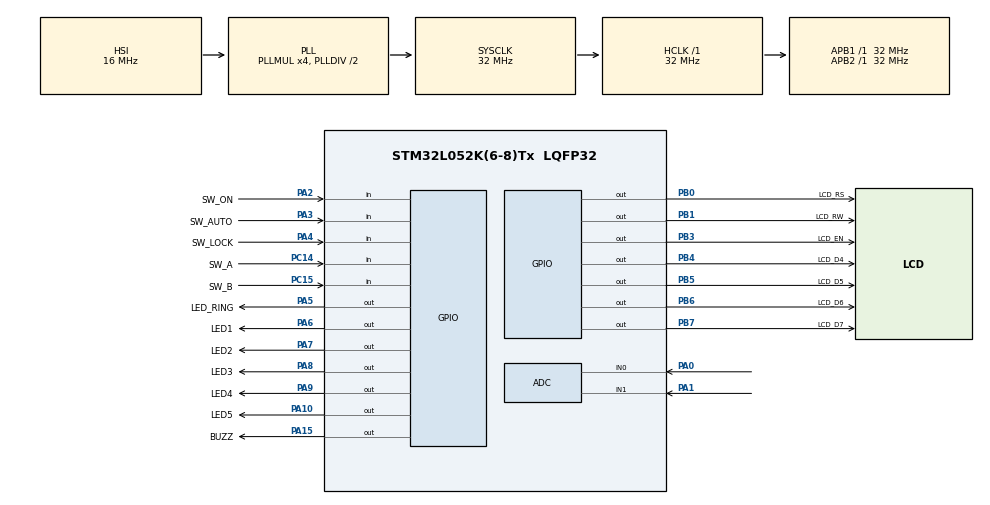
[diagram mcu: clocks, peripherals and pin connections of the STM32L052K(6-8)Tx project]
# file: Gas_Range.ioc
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ADC.SamplingTime=ADC_SAMPLETIME_160CYCLES_5
Mcu.Family=STM32L0
Mcu.Name=STM32L052K(6-8)Tx
Mcu.Package=LQFP32
PA0.Mode=IN0
PA0.Signal=ADC_IN0
PA1.Mode=IN1
PA1.Signal=ADC_IN1
PA10.GPIO_Label=LED5
PA10.GPIO_Speed=GPIO_SPEED_FREQ_VERY_HIGH
PA10.PinState=GPIO_PIN_SET
PA10.Signal=GPIO_Output
PA13.Mode=Serial_Wire
PA13.Signal=SYS_SWDIO
PA14.Mode=Serial_Wire
PA14.Signal=SYS_SWCLK
PA15.GPIO_Label=BUZZ
PA15.GPIO_Speed=GPIO_SPEED_FREQ_VERY_HIGH
PA15.Signal=GPIO_Output
PA2.GPIO_Label=SW_ON
PA2.GPIO_PuPd=GPIO_PULLUP
PA2.Signal=GPIO_Input
PA3.GPIO_Label=SW_AUTO
PA3.GPIO_PuPd=GPIO_PULLUP
PA3.Signal=GPIO_Input
PA4.GPIO_Label=SW_LOCK
PA4.GPIO_PuPd=GPIO_PULLUP
PA4.Signal=GPIO_Input
PA5.GPIO_Label=LED_RING
PA5.GPIO_ModeDefaultOutputPP=GPIO_MODE_OUTPUT_OD
PA5.GPIO_Speed=GPIO_SPEED_FREQ_VERY_HIGH
PA5.Signal=GPIO_Output
PA6.GPIO_Label=LED1
PA6.GPIO_Speed=GPIO_SPEED_FREQ_VERY_HIGH
PA6.PinState=GPIO_PIN_SET
PA6.Signal=GPIO_Output
PA7.GPIO_Label=LED2
PA7.GPIO_Speed=GPIO_SPEED_FREQ_VERY_HIGH
PA7.PinState=GPIO_PIN_SET
PA7.Signal=GPIO_Output
PA8.GPIO_Label=LED3
PA8.GPIO_Speed=GPIO_SPEED_FREQ_VERY_HIGH
PA8.PinState=GPIO_PIN_SET
PA8.Signal=GPIO_Output
PA9.GPIO_Label=LED4
PA9.GPIO_Speed=GPIO_SPEED_FREQ_VERY_HIGH
PA9.PinState=GPIO_PIN_SET
PA9.Signal=GPIO_Output
PB0.GPIO_Label=LCD_RS
PB0.GPIO_Speed=GPIO_SPEED_FREQ_VERY_HIGH
PB0.Signal=GPIO_Output
PB1.GPIO_Label=LCD_RW
PB1.GPIO_Speed=GPIO_SPEED_FREQ_VERY_HIGH
PB1.Signal=GPIO_Output
PB3.GPIO_Label=LCD_EN
PB3.GPIO_Speed=GPIO_SPEED_FREQ_VERY_HIGH
PB3.Signal=GPIO_Output
PB4.GPIO_Label=LCD_D4
PB4.GPIO_Speed=GPIO_SPEED_FREQ_VERY_HIGH
PB4.Signal=GPIO_Output
PB5.GPIO_Label=LCD_D5
PB5.GPIO_Speed=GPIO_SPEED_FREQ_VERY_HIGH
PB5.Signal=GPIO_Output
PB6.GPIO_Label=LCD_D6
PB6.GPIO_Speed=GPIO_SPEED_FREQ_VERY_HIGH
PB6.Signal=GPIO_Output
PB7.GPIO_Label=LCD_D7
PB7.GPIO_Speed=GPIO_SPEED_FREQ_VERY_HIGH
PB7.Signal=GPIO_Output
PC14-OSC32_IN.GPIO_Label=SW_A
PC14-OSC32_IN.GPIO_PuPd=GPIO_PULLUP
PC14-OSC32_IN.Signal=GPIO_Input
PC15-OSC32_OUT.GPIO_Label=SW_B
PC15-OSC32_OUT.GPIO_PuPd=GPIO_PULLUP
PC15-OSC32_OUT.Signal=GPIO_Input
ProjectManager.HeapSize=0x200
ProjectManager.StackSize=0x400
ProjectManager.TargetToolchain=STM32CubeIDE
RCC.AHBFreq_Value=32000000
RCC.APB1Freq_Value=32000000
RCC.APB1TimFreq_Value=32000000
RCC.APB2Freq_Value=32000000
RCC.APB2TimFreq_Value=32000000
RCC.HCLKFreq_Value=32000000
RCC.HSI16_VALUE=16000000
RCC.HSI48_VALUE=48000000
RCC.HSI_VALUE=16000000
RCC.LSE_VALUE=32768
RCC.MSI_VALUE=2097000
RCC.PLLMUL=RCC_PLLMUL_4
RCC.SYSCLKFreq_VALUE=32000000
RCC.SYSCLKSource=RCC_SYSCLKSOURCE_PLLCLK
RCC.VCOOutputFreq_Value=64000000
board=custom

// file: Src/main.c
/* USER CODE BEGIN Header */
/**
 ******************************************************************************
 * @file           : main.c
 * @brief          : Main program body
 ******************************************************************************
 * @attention
 *
 * <h2><center>&copy; Copyright (c) 2020 STMicroelectronics.
 * All rights reserved.</center></h2>
 *
 * This software component is licensed by ST under BSD 3-Clause license,
 * the "License"; You may not use this file except in compliance with the
 * License. You may obtain a copy of the License at:
 *                        opensource.org/licenses/BSD-3-Clause
 *
 ******************************************************************************
 */
/* USER CODE END Header */

#include "main.h"

/* USER CODE BEGIN Includes */
#include <stdio.h>
#include "lcd1602.h"
#include "control_hardware.h"
/* USER CODE END Includes */

/* USER CODE BEGIN PD */
#define SW1 (HAL_GPIO_ReadPin(SW_ON_GPIO_Port, SW_ON_Pin))
#define SW2 (HAL_GPIO_ReadPin(SW_LOCK_GPIO_Port, SW_LOCK_Pin))
#define SW3 (HAL_GPIO_ReadPin(SW_AUTO_GPIO_Port, SW_AUTO_Pin))
#define SW4 (HAL_GPIO_ReadPin(SW_A_GPIO_Port, SW_A_Pin))
#define SW5 (HAL_GPIO_ReadPin(SW_B_GPIO_Port, SW_B_Pin))

#define TEMPUP(X) (X == 1 ? 900 : X == 2 ? 800 : X == 3 ? 700 : X == 4 ? 600 : X == 5 ? 500 : X == 6 ? 400 : X == 7 ? 300 : X == 8 ? 200 : X == 9 ? 100 : 0)
#define TEMPDOWN(X) (X < 10 ? 2900 : X >= 300 ? 100 : X >= 200 ? 200 : X >= 100 ? 400 : X >= 40 ? 700 : X >= 20 ? 1100 : X >= 15 ? 1600 : X >= 10 ? 2200 : 0)

#define BUZZER(X) (HAL_GPIO_WritePin(BUZZ_GPIO_Port, BUZZ_Pin, X))
#define LED(N, X) (HAL_GPIO_WritePin(LED##N##_GPIO_Port, LED##N##_Pin, !X))

#define NOW HAL_GetTick()

/* USER CODE END PD */

/* USER CODE BEGIN PM */
typedef char* String;
/* USER CODE END PM */

ADC_HandleTypeDef hadc;

/* USER CODE BEGIN PV */
int temp = 20;
int power = 0;
int powerSet = 0;
int uNum = 0;
int altemp = 20;
int gasflag = 0;
int safeflag = 0;
int highflag = 0;
int autoFlag = 0;
int asetTemp;
char bf[17];
String uistat[6] = { "OFF      ", "ON       ", "ON(NONE) ", "OVER HEAT",
		"AUTO ADJ ", "SAFE LOCK" };
uint32_t led_ring_data[10][12] = { 0 };

/* USER CODE END PV */

void SystemClock_Config(void);
static void MX_GPIO_Init(void);
static void MX_ADC_Init(void);

/* USER CODE BEGIN 0 */
void adc(uint16_t *vr, uint16_t *cds) {
	HAL_ADC_Start(&hadc);
	HAL_ADC_PollForConversion(&hadc, 1000);
	*cds = HAL_ADC_GetValue(&hadc);
	HAL_ADC_PollForConversion(&hadc, 1000);
	*vr = HAL_ADC_GetValue(&hadc);
	HAL_ADC_Stop(&hadc);
}

void ledRing() {
	int i;
	for (i = 0; i < 12; i++)
		led_ring_data[0][i] = led_ring_rgb(0, 0, 0);
	for (i = 0; i < 12; i++)
		if (i == 0 || i == 4 || i == 8)
			led_ring_data[1][i] = led_ring_rgb(0, 0, 13);
		else
			led_ring_data[1][i] = led_ring_rgb(0, 0, 0);
	for (i = 0; i < 12; i++)
		if (i == 0 || i == 4 || i == 8)
			led_ring_data[2][i] = led_ring_rgb(0, 0, 76);
		else
			led_ring_data[2][i] = led_ring_rgb(0, 0, 0);
	for (i = 0; i < 12; i++)
		if (i == 0 || i == 4 || i == 8)
			led_ring_data[3][i] = led_ring_rgb(0, 0, 255);
		else
			led_ring_data[3][i] = led_ring_rgb(0, 0, 0);
	for (i = 0; i < 12; i++)
		if (i == 0 || i == 4 || i == 8)
			led_ring_data[4][i] = led_ring_rgb(0, 0, 255);
		else if (i == 2 || i == 6 || i == 10)
			led_ring_data[4][i] = led_ring_rgb(0, 0, 13);
		else
			led_ring_data[4][i] = led_ring_rgb(0, 0, 0);
	for (i = 0; i < 12; i++)
		if (i == 0 || i == 4 || i == 8)
			led_ring_data[5][i] = led_ring_rgb(0, 0, 255);
		else if (i == 2 || i == 6 || i == 10)
			led_ring_data[5][i] = led_ring_rgb(0, 0, 76);
		else
			led_ring_data[5][i] = led_ring_rgb(0, 0, 0);
	for (i = 0; i < 12; i++)
		if (i == 0 || i == 2 || i == 4 || i == 6 || i == 8 || i == 10)
			led_ring_data[6][i] = led_ring_rgb(0, 0, 255);
		else
			led_ring_data[6][i] = led_ring_rgb(0, 0, 0);
	for (i = 0; i < 12; i++)
		if (i == 0 || i == 2 || i == 4 || i == 6 || i == 8 || i == 10)
			led_ring_data[7][i] = led_ring_rgb(0, 0, 255);
		else
			led_ring_data[7][i] = led_ring_rgb(0, 0, 13);
	for (i = 0; i < 12; i++)
		if (i == 0 || i == 2 || i == 4 || i == 6 || i == 8 || i == 10)
			led_ring_data[8][i] = led_ring_rgb(0, 0, 255);
		else
			led_ring_data[8][i] = led_ring_rgb(0, 0, 76);
	for (i = 0; i < 12; i++)
		led_ring_data[9][i] = led_ring_rgb(0, 0, 255);
}

void lcd_print() {
	sprintf(bf, "TEMP:%03d%cC  %c:%d", temp, 0xDF, 1, power);
	lcd_gotoxy(0, 1);
	lcd_puts(bf);
	sprintf(bf, "[%.9s][%03d]", uistat[uNum], altemp);
	lcd_gotoxy(0, 0);
	lcd_puts(bf);
}

void gasOn(uint16_t vr, uint16_t cds) {
	if (cds > 3000) {
		uNum = 1;
		powerSet = vr / 511.875 + 1;
	} else {
		uNum = 2;
		powerSet = 1;
	}
}

void ledClear() {
	LED(1, 0);
	LED(2, 0);
	LED(3, 0);
	LED(4, 0);
	LED(5, 0);
}

void ledControl(uint16_t x) {
	ledClear();
	if (x == 1) {
		LED(1, 1);
		asetTemp = 80;
	} else if (x == 2) {
		LED(2, 1);
		asetTemp = 100;
	} else if (x == 3) {
		LED(3, 1);
		asetTemp = 140;
	} else if (x == 4) {
		LED(4, 1);
		asetTemp = 180;
	} else if (x == 5) {
		LED(5, 1);
		asetTemp = 220;
	}
}

void autoOn(uint16_t vr, uint16_t cds) {
	int i = asetTemp - temp;
	if (cds > 3000) {
		ledControl((vr / 1023.75 + 1));
		uNum = 4;
		if (i < -1)
			powerSet = 1;
		if (1 < i)
			powerSet = 9;
	} else {
		uNum = 2;
		powerSet = 1;
	}
}

void safemode() {
	uNum = 5;
	powerSet = 0;
}
/* USER CODE END 0 */

int main(void) {
	/* USER CODE BEGIN 1 */
	int buzflag = 0, swFlag = 0, alflag = 0;
	uint16_t vr, cds;
	uint32_t last = NOW;
	uint32_t plast = NOW;
	uint32_t tdownlast = NOW;
	uint32_t tuplast = NOW;
	uint32_t buzlast;
	uint32_t allast;
	/* USER CODE END 1 */

	/* MCU Configuration--------------------------------------------------------*/

	/* Reset of all peripherals, Initializes the Flash interface and the Systick. */
	HAL_Init();

	/* Configure the system clock */
	SystemClock_Config();

	/* Initialize all configured peripherals */
	MX_GPIO_Init();
	MX_ADC_Init();
	/* USER CODE BEGIN 2 */
	LcdInit();
	ledRing();
	lcd_cgram(1, 0);
	lcd_puts("\fSmart Gas Range\n              01");
	HAL_Delay(2000);
	lcd_print();
	ledRing();

	/* USER CODE END 2 */

	/* Infinite loop */
	while (1) {
		/* USER CODE BEGIN 3 */
		if (gasflag) {
			if (safeflag)
				safemode();
			else if (autoFlag)
				autoOn(vr, cds);
			else
				gasOn(vr, cds);
		} else {
			uNum = 0;
			powerSet = 0;
		}
		if (highflag) {
			uNum = 3;
			powerSet = 0;
			if (!buzflag) {
				buzlast = NOW;
				buzflag = 1;
			}
			if ((NOW - buzlast >= 100 && NOW - buzlast <= 200)
					|| (NOW - buzlast >= 300 && NOW - buzlast <= 400)
					|| (NOW - buzlast >= 500 && NOW - buzlast <= 600)) {
				BUZZER(1);
			} else {
				BUZZER(0);
			}
			if (temp < 150 && !SW1) {
				highflag = 0;
				buzflag = 0;
			}
		}
		if (!SW3 || !SW4 || !SW5) {
			if (!SW3 && !swFlag) {
				if (!autoFlag) {
					autoFlag = 1;
				} else {
					autoFlag = 0;
					ledClear();
				}
			}
			if (!SW4 && !swFlag)
				altemp -= 20;
			if (!SW5 && !swFlag)
				altemp += 20;
			if (altemp > 280)
				altemp = 280;
			if (altemp < 20)
				altemp = 20;
			swFlag = 1;
		} else {
			swFlag = 0;
		}
		if (altemp < temp && altemp > 20) {
			if (!alflag) {
				allast = NOW;
				alflag = 1;
			}
		} else {
			BUZZER(0);
			alflag = 0;
		}
		if (alflag) {
			if ((NOW - allast >= 0 && NOW - allast <= 100)
					|| (NOW - allast >= 200 && NOW - allast <= 300))
				BUZZER(1);
			else
				BUZZER(0);
			if (NOW - allast >= 1000)
				allast = NOW;
		}
		if (SW1 && !safeflag)
			gasflag = 1;
		if (!SW1 && !safeflag)
			gasflag = 0;
		if (SW2)
			safeflag = 1;
		if(!SW2 && SW1)
			safeflag = 0;
		if (NOW - last >= 10) {
			adc(&vr, &cds);
			if (NOW - plast >= 100) {
				if (power < powerSet)
					power++;
				if (power > powerSet)
					power--;
				led_ring_update(led_ring_data[power]);
				plast = NOW;
			}
			lcd_print();
			last = NOW;
		}
		if (NOW - tuplast >= TEMPUP(power) && TEMPUP(power) != 0) {
			temp++;
			if (temp > 300)
				highflag = 1;
			tuplast = NOW;
			lcd_print();
		}
		if (NOW - tdownlast >= TEMPDOWN(temp - 20) && TEMPDOWN(temp - 20) != 0) {
			temp--;
			if (temp < 20)
				temp = 20;
			tdownlast = NOW;
			lcd_print();
		}
	}
	/* USER CODE END 3 */
}

void SystemClock_Config(void) {
	RCC_OscInitTypeDef RCC_OscInitStruct = { 0 };
	RCC_ClkInitTypeDef RCC_ClkInitStruct = { 0 };

	/** Configure the main internal regulator output voltage
	 */
	__HAL_PWR_VOLTAGESCALING_CONFIG(PWR_REGULATOR_VOLTAGE_SCALE1);
	/** Initializes the CPU, AHB and APB busses clocks
	 */
	RCC_OscInitStruct.OscillatorType = RCC_OSCILLATORTYPE_HSI;
	RCC_OscInitStruct.HSIState = RCC_HSI_ON;
	RCC_OscInitStruct.HSICalibrationValue = RCC_HSICALIBRATION_DEFAULT;
	RCC_OscInitStruct.PLL.PLLState = RCC_PLL_ON;
	RCC_OscInitStruct.PLL.PLLSource = RCC_PLLSOURCE_HSI;
	RCC_OscInitStruct.PLL.PLLMUL = RCC_PLLMUL_4;
	RCC_OscInitStruct.PLL.PLLDIV = RCC_PLLDIV_2;
	if (HAL_RCC_OscConfig(&RCC_OscInitStruct) != HAL_OK) {
		Error_Handler();
	}
	/** Initializes the CPU, AHB and APB busses clocks
	 */
	RCC_ClkInitStruct.ClockType = RCC_CLOCKTYPE_HCLK | RCC_CLOCKTYPE_SYSCLK
			| RCC_CLOCKTYPE_PCLK1 | RCC_CLOCKTYPE_PCLK2;
	RCC_ClkInitStruct.SYSCLKSource = RCC_SYSCLKSOURCE_PLLCLK;
	RCC_ClkInitStruct.AHBCLKDivider = RCC_SYSCLK_DIV1;
	RCC_ClkInitStruct.APB1CLKDivider = RCC_HCLK_DIV1;
	RCC_ClkInitStruct.APB2CLKDivider = RCC_HCLK_DIV1;

	if (HAL_RCC_ClockConfig(&RCC_ClkInitStruct, FLASH_LATENCY_1) != HAL_OK) {
		Error_Handler();
	}
}

static void MX_ADC_Init(void) {

	ADC_ChannelConfTypeDef sConfig = { 0 };

	/** Configure the global features of the ADC (Clock, Resolution, Data Alignment and number of conversion)
	 */
	hadc.Instance = ADC1;
	hadc.Init.OversamplingMode = DISABLE;
	hadc.Init.ClockPrescaler = ADC_CLOCK_SYNC_PCLK_DIV2;
	hadc.Init.Resolution = ADC_RESOLUTION_12B;
	hadc.Init.SamplingTime = ADC_SAMPLETIME_160CYCLES_5;
	hadc.Init.ScanConvMode = ADC_SCAN_DIRECTION_FORWARD;
	hadc.Init.DataAlign = ADC_DATAALIGN_RIGHT;
	hadc.Init.ContinuousConvMode = DISABLE;
	hadc.Init.DiscontinuousConvMode = DISABLE;
	hadc.Init.ExternalTrigConvEdge = ADC_EXTERNALTRIGCONVEDGE_NONE;
	hadc.Init.ExternalTrigConv = ADC_SOFTWARE_START;
	hadc.Init.DMAContinuousRequests = DISABLE;
	hadc.Init.EOCSelection = ADC_EOC_SINGLE_CONV;
	hadc.Init.Overrun = ADC_OVR_DATA_PRESERVED;
	hadc.Init.LowPowerAutoWait = DISABLE;
	hadc.Init.LowPowerFrequencyMode = DISABLE;
	hadc.Init.LowPowerAutoPowerOff = DISABLE;
	if (HAL_ADC_Init(&hadc) != HAL_OK) {
		Error_Handler();
	}
	/** Configure for the selected ADC regular channel to be converted.
	 */
	sConfig.Channel = ADC_CHANNEL_0;
	sConfig.Rank = ADC_RANK_CHANNEL_NUMBER;
	if (HAL_ADC_ConfigChannel(&hadc, &sConfig) != HAL_OK) {
		Error_Handler();
	}
	/** Configure for the selected ADC regular channel to be converted.
	 */
	sConfig.Channel = ADC_CHANNEL_1;
	if (HAL_ADC_ConfigChannel(&hadc, &sConfig) != HAL_OK) {
		Error_Handler();
	}

}

static void MX_GPIO_Init(void) {
	GPIO_InitTypeDef GPIO_InitStruct = { 0 };

	/* GPIO Ports Clock Enable */
	__HAL_RCC_GPIOC_CLK_ENABLE();
	__HAL_RCC_GPIOA_CLK_ENABLE();
	__HAL_RCC_GPIOB_CLK_ENABLE();

	/*Configure GPIO pin Output Level */
	HAL_GPIO_WritePin(GPIOA, LED_RING_Pin | BUZZ_Pin, GPIO_PIN_RESET);

	/*Configure GPIO pin Output Level */
	HAL_GPIO_WritePin(GPIOA,
	LED1_Pin | LED2_Pin | LED3_Pin | LED4_Pin | LED5_Pin, GPIO_PIN_SET);

	/*Configure GPIO pin Output Level */
	HAL_GPIO_WritePin(GPIOB,
			LCD_RS_Pin | LCD_RW_Pin | LCD_EN_Pin | LCD_D4_Pin | LCD_D5_Pin
					| LCD_D6_Pin | LCD_D7_Pin, GPIO_PIN_RESET);

	/*Configure GPIO pins : SW_A_Pin SW_B_Pin */
	GPIO_InitStruct.Pin = SW_A_Pin | SW_B_Pin;
	GPIO_InitStruct.Mode = GPIO_MODE_INPUT;
	GPIO_InitStruct.Pull = GPIO_PULLUP;
	HAL_GPIO_Init(GPIOC, &GPIO_InitStruct);

	/*Configure GPIO pins : SW_ON_Pin SW_AUTO_Pin SW_LOCK_Pin */
	GPIO_InitStruct.Pin = SW_ON_Pin | SW_AUTO_Pin | SW_LOCK_Pin;
	GPIO_InitStruct.Mode = GPIO_MODE_INPUT;
	GPIO_InitStruct.Pull = GPIO_PULLUP;
	HAL_GPIO_Init(GPIOA, &GPIO_InitStruct);

	/*Configure GPIO pin : LED_RING_Pin */
	GPIO_InitStruct.Pin = LED_RING_Pin;
	GPIO_InitStruct.Mode = GPIO_MODE_OUTPUT_OD;
	GPIO_InitStruct.Pull = GPIO_NOPULL;
	GPIO_InitStruct.Speed = GPIO_SPEED_FREQ_VERY_HIGH;
	HAL_GPIO_Init(LED_RING_GPIO_Port, &GPIO_InitStruct);

	/*Configure GPIO pins : LED1_Pin LED2_Pin LED3_Pin LED4_Pin
	 LED5_Pin BUZZ_Pin */
	GPIO_InitStruct.Pin = LED1_Pin | LED2_Pin | LED3_Pin | LED4_Pin | LED5_Pin
			| BUZZ_Pin;
	GPIO_InitStruct.Mode = GPIO_MODE_OUTPUT_PP;
	GPIO_InitStruct.Pull = GPIO_NOPULL;
	GPIO_InitStruct.Speed = GPIO_SPEED_FREQ_VERY_HIGH;
	HAL_GPIO_Init(GPIOA, &GPIO_InitStruct);

	/*Configure GPIO pins : LCD_RS_Pin LCD_RW_Pin LCD_EN_Pin LCD_D4_Pin
	 LCD_D5_Pin LCD_D6_Pin LCD_D7_Pin */
	GPIO_InitStruct.Pin = LCD_RS_Pin | LCD_RW_Pin | LCD_EN_Pin | LCD_D4_Pin
			| LCD_D5_Pin | LCD_D6_Pin | LCD_D7_Pin;
	GPIO_InitStruct.Mode = GPIO_MODE_OUTPUT_PP;
	GPIO_InitStruct.Pull = GPIO_NOPULL;
	GPIO_InitStruct.Speed = GPIO_SPEED_FREQ_VERY_HIGH;
	HAL_GPIO_Init(GPIOB, &GPIO_InitStruct);

}

void Error_Handler(void) {
}

/************************ (C) COPYRIGHT STMicroelectronics *****END OF FILE****/
